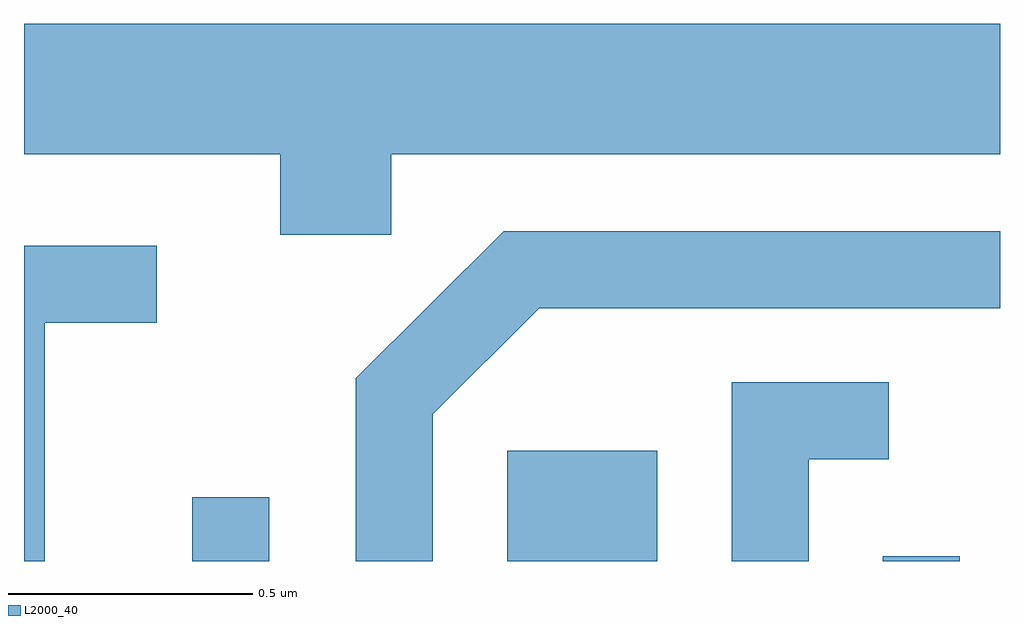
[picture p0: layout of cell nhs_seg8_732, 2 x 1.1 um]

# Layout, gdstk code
import gdstk
lib = gdstk.Library(unit=1e-6, precision=1e-09)
def R(c, l, rs):  # rectangles x0, y0, x1, y1
    for r in rs: c.add(gdstk.rectangle(r[:2], r[2:], *l))
def P(c, l, *ps):  # polygons
    for p in ps: c.add(gdstk.Polygon(p, *l))
L2000_40 = (2000, 40)

nhs_seg8_732 = lib.new_cell('nhs_seg8_732')
R(nhs_seg8_732, L2000_40, [(190.956,1853.342,191.114,1853.473), (191.601,1853.342,191.909,1853.569), (192.371,1853.342,192.529,1853.353)])
P(nhs_seg8_732, L2000_40, [(191.364,1854.176),(192.611,1854.176),(192.611,1854.444),(190.611,1854.444),(190.611,1854.176),(191.136,1854.176),(191.136,1854.011),(191.364,1854.011)],
  [(191.449,1853.644),(191.667,1853.861),(192.611,1853.861),(192.611,1854.019),(191.594,1854.019),(191.291,1853.717),(191.291,1853.342),(191.449,1853.342)],
  [(190.654,1853.831),(190.883,1853.831),(190.883,1853.989),(190.611,1853.989),(190.611,1853.342),(190.654,1853.342)],
  [(192.219,1853.551),(192.383,1853.551),(192.383,1853.709),(192.061,1853.709),(192.061,1853.342),(192.219,1853.342)])

lib.write_gds('nhs_seg8_732.gds')
